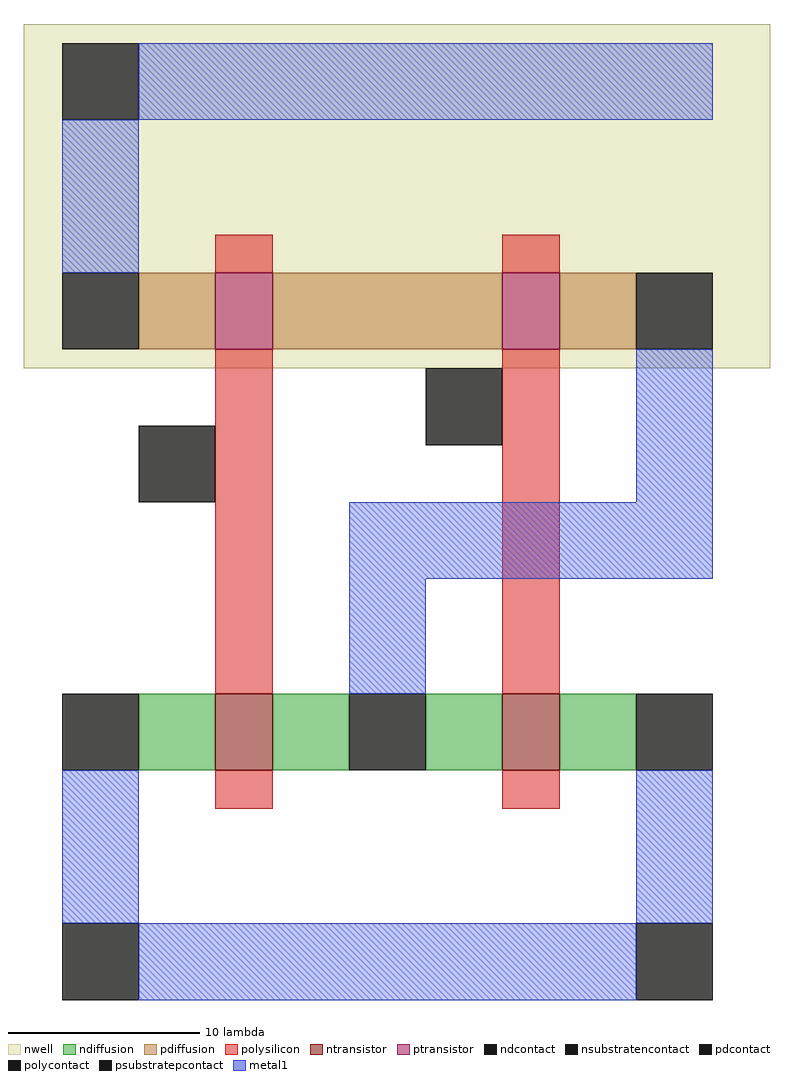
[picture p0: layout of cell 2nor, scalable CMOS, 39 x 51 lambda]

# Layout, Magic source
magic
tech scmos
<< nwell >>
rect -16 -5 23 13
<< polysilicon >>
rect -6 0 -3 2
rect 9 0 12 2
rect -6 -22 -3 -4
rect 9 -22 12 -4
rect -6 -28 -3 -26
rect 9 -28 12 -26
<< ndiffusion >>
rect -10 -26 -6 -22
rect -3 -26 1 -22
rect 5 -26 9 -22
rect 12 -26 16 -22
<< pdiffusion >>
rect -10 -4 -6 0
rect -3 -4 9 0
rect 12 -4 16 0
<< metal1 >>
rect -10 8 20 12
rect -14 0 -10 8
rect 16 -12 20 -4
rect 1 -16 20 -12
rect 1 -22 5 -16
rect -14 -34 -10 -26
rect 16 -34 20 -26
rect -10 -38 16 -34
<< ntransistor >>
rect -6 -26 -3 -22
rect 9 -26 12 -22
<< ptransistor >>
rect -6 -4 -3 0
rect 9 -4 12 0
<< polycontact >>
rect -10 -12 -6 -8
rect 5 -9 9 -5
<< ndcontact >>
rect -14 -26 -10 -22
rect 1 -26 5 -22
rect 16 -26 20 -22
<< pdcontact >>
rect -14 -4 -10 0
rect 16 -4 20 0
<< psubstratepcontact >>
rect -14 -38 -10 -34
rect 16 -38 20 -34
<< nsubstratencontact >>
rect -14 8 -10 12
<< end >>
